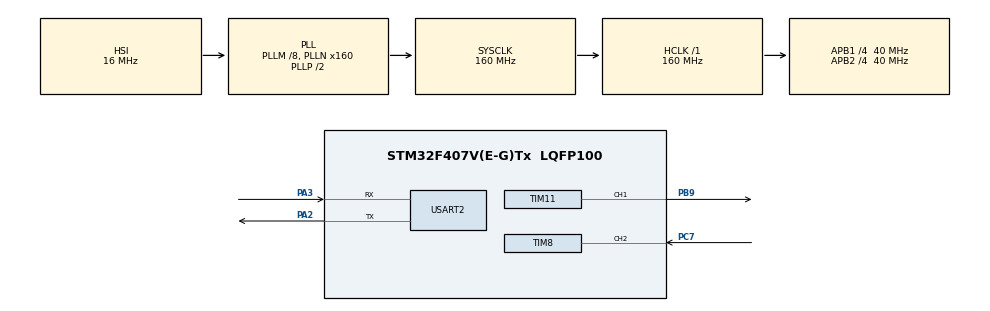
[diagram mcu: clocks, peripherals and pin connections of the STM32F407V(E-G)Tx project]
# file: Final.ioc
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Mcu.Family=STM32F4
Mcu.Name=STM32F407V(E-G)Tx
Mcu.Package=LQFP100
NVIC.PriorityGroup=NVIC_PRIORITYGROUP_4
PA13.Mode=Serial_Wire
PA13.Signal=SYS_JTMS-SWDIO
PA14.Mode=Serial_Wire
PA14.Signal=SYS_JTCK-SWCLK
PA2.Mode=Asynchronous
PA2.Signal=USART2_TX
PA3.Mode=Asynchronous
PA3.Signal=USART2_RX
PB9.Signal=S_TIM11_CH1
PC7.Signal=S_TIM8_CH2
PH0-OSC_IN.Mode=HSE-External-Oscillator
PH0-OSC_IN.Signal=RCC_OSC_IN
PH1-OSC_OUT.Mode=HSE-External-Oscillator
PH1-OSC_OUT.Signal=RCC_OSC_OUT
ProjectManager.HeapSize=0x200
ProjectManager.StackSize=0x400
ProjectManager.TargetToolchain=MDK-ARM V5
RCC.48MHZClocksFreq_Value=80000000
RCC.AHBFreq_Value=160000000
RCC.APB1CLKDivider=RCC_HCLK_DIV4
RCC.APB1Freq_Value=40000000
RCC.APB1TimFreq_Value=80000000
RCC.APB2CLKDivider=RCC_HCLK_DIV4
RCC.APB2Freq_Value=40000000
RCC.APB2TimFreq_Value=80000000
RCC.CortexFreq_Value=160000000
RCC.HCLKFreq_Value=160000000
RCC.HSE_VALUE=25000000
RCC.HSI_VALUE=16000000
RCC.LSE_VALUE=32768
RCC.PLLM=8
RCC.PLLN=160
RCC.SYSCLKFreq_VALUE=160000000
RCC.SYSCLKSource=RCC_SYSCLKSOURCE_PLLCLK
RCC.VCOOutputFreq_Value=320000000
SH.S_TIM11_CH1.0=TIM11_CH1,PWM Generation1 CH1
SH.S_TIM8_CH2.0=TIM8_CH2,TriggerSource_TI2FP2
SH.S_TIM8_CH2.1=TIM8_CH2,Input_Capture2_from_TI2
TIM11.Channel=TIM_CHANNEL_1
TIM11.Period=39999
TIM11.Prescaler=199
TIM8.Channel-Input_Capture2_from_TI2=TIM_CHANNEL_2
TIM8.ICPolarity_CH2=TIM_INPUTCHANNELPOLARITY_BOTHEDGE
TIM8.Period=65535
TIM8.Prescaler=79
USART2.VirtualMode=VM_ASYNC
VP_TIM11_VS_ClockSourceINT.Mode=Enable_Timer
VP_TIM8_VS_ControllerModeReset.Mode=Reset Mode
board=custom

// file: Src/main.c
/**
  ******************************************************************************
  * @file           : main.c
  * @brief          : Main program body
  ******************************************************************************
  ** This notice applies to any and all portions of this file
  * that are not between comment pairs USER CODE BEGIN and
  * USER CODE END. Other portions of this file, whether
  * inserted by the user or by software development tools
  * are owned by their respective copyright owners.
  *
  * COPYRIGHT(c) 2019 STMicroelectronics
  *
  * Redistribution and use in source and binary forms, with or without modification,
  * are permitted provided that the following conditions are met:
  *   1. Redistributions of source code must retain the above copyright notice,
  *      this list of conditions and the following disclaimer.
  *   2. Redistributions in binary form must reproduce the above copyright notice,
  *      this list of conditions and the following disclaimer in the documentation
  *      and/or other materials provided with the distribution.
  *   3. Neither the name of STMicroelectronics nor the names of its contributors
  *      may be used to endorse or promote products derived from this software
  *      without specific prior written permission.
  *
  * THIS SOFTWARE IS PROVIDED BY THE COPYRIGHT HOLDERS AND CONTRIBUTORS "AS IS"
  * AND ANY EXPRESS OR IMPLIED WARRANTIES, INCLUDING, BUT NOT LIMITED TO, THE
  * IMPLIED WARRANTIES OF MERCHANTABILITY AND FITNESS FOR A PARTICULAR PURPOSE ARE
  * DISCLAIMED. IN NO EVENT SHALL THE COPYRIGHT HOLDER OR CONTRIBUTORS BE LIABLE
  * FOR ANY DIRECT, INDIRECT, INCIDENTAL, SPECIAL, EXEMPLARY, OR CONSEQUENTIAL
  * DAMAGES (INCLUDING, BUT NOT LIMITED TO, PROCUREMENT OF SUBSTITUTE GOODS OR
  * SERVICES; LOSS OF USE, DATA, OR PROFITS; OR BUSINESS INTERRUPTION) HOWEVER
  * CAUSED AND ON ANY THEORY OF LIABILITY, WHETHER IN CONTRACT, STRICT LIABILITY,
  * OR TORT (INCLUDING NEGLIGENCE OR OTHERWISE) ARISING IN ANY WAY OUT OF THE USE
  * OF THIS SOFTWARE, EVEN IF ADVISED OF THE POSSIBILITY OF SUCH DAMAGE.
  *
  ******************************************************************************
  */
#include "main.h"
#include "stm32f4xx_hal.h"
#include "tim.h"
#include "usart.h"
#include "gpio.h"

/* USER CODE BEGIN Includes */
#include "stdio.h"
/* USER CODE END Includes */

/* USER CODE BEGIN PV */
/* Private variables ---------------------------------------------------------*/
#ifdef __GNU__
#define PUTCHAR_PROTOTYPE int __io_putchar(int ch)
#else
#define PUTCHAR_PROTOTYPE int fputc(int ch, FILE *f)
#endif

PUTCHAR_PROTOTYPE {
	HAL_UART_Transmit(&huart2, (uint8_t *)&ch, 1, 10);
	return ch;
}

uint32_t echo, delay;
float distance;
/* USER CODE END PV */

void SystemClock_Config(void);

/* USER CODE BEGIN PFP */
/* Private function prototypes -----------------------------------------------*/

/* USER CODE END PFP */

int main(void)
{

  /* MCU Configuration----------------------------------------------------------*/

  /* Reset of all peripherals, Initializes the Flash interface and the Systick. */
  HAL_Init();

  /* Configure the system clock */
  SystemClock_Config();

  /* Initialize all configured peripherals */
  MX_GPIO_Init();
  MX_USART2_UART_Init();
  MX_TIM11_Init();
  MX_TIM8_Init();
  /* USER CODE BEGIN 2 */

	HAL_TIM_Base_Start(&htim11);
	HAL_TIM_PWM_Start(&htim11, TIM_CHANNEL_1);
	HAL_TIM_IC_Start(&htim8, TIM_CHANNEL_2);
	TIM11->CCR1 = 3;
  /* USER CODE END 2 */

  /* Infinite loop */
  /* USER CODE BEGIN WHILE */
  while (1)
  {
		if(HAL_GetTick() - delay >= 50)
		{
			delay = HAL_GetTick();
			echo = HAL_TIM_ReadCapturedValue(&htim8, TIM_CHANNEL_2);
			distance = echo / 58.0f;
			printf("Echo: %u usec  | Distance: %.2f cm \r\n", echo, distance);
		}
  /* USER CODE END WHILE */

  }

}

void SystemClock_Config(void)
{

  RCC_OscInitTypeDef RCC_OscInitStruct;
  RCC_ClkInitTypeDef RCC_ClkInitStruct;

    /**Configure the main internal regulator output voltage
    */
  __HAL_RCC_PWR_CLK_ENABLE();

  __HAL_PWR_VOLTAGESCALING_CONFIG(PWR_REGULATOR_VOLTAGE_SCALE1);

    /**Initializes the CPU, AHB and APB busses clocks
    */
  RCC_OscInitStruct.OscillatorType = RCC_OSCILLATORTYPE_HSI;
  RCC_OscInitStruct.HSIState = RCC_HSI_ON;
  RCC_OscInitStruct.HSICalibrationValue = 16;
  RCC_OscInitStruct.PLL.PLLState = RCC_PLL_ON;
  RCC_OscInitStruct.PLL.PLLSource = RCC_PLLSOURCE_HSI;
  RCC_OscInitStruct.PLL.PLLM = 8;
  RCC_OscInitStruct.PLL.PLLN = 160;
  RCC_OscInitStruct.PLL.PLLP = RCC_PLLP_DIV2;
  RCC_OscInitStruct.PLL.PLLQ = 4;
  if (HAL_RCC_OscConfig(&RCC_OscInitStruct) != HAL_OK)
  {
    _Error_Handler(__FILE__, __LINE__);
  }

    /**Initializes the CPU, AHB and APB busses clocks
    */
  RCC_ClkInitStruct.ClockType = RCC_CLOCKTYPE_HCLK|RCC_CLOCKTYPE_SYSCLK
                              |RCC_CLOCKTYPE_PCLK1|RCC_CLOCKTYPE_PCLK2;
  RCC_ClkInitStruct.SYSCLKSource = RCC_SYSCLKSOURCE_PLLCLK;
  RCC_ClkInitStruct.AHBCLKDivider = RCC_SYSCLK_DIV1;
  RCC_ClkInitStruct.APB1CLKDivider = RCC_HCLK_DIV4;
  RCC_ClkInitStruct.APB2CLKDivider = RCC_HCLK_DIV4;

  if (HAL_RCC_ClockConfig(&RCC_ClkInitStruct, FLASH_LATENCY_5) != HAL_OK)
  {
    _Error_Handler(__FILE__, __LINE__);
  }

    /**Configure the Systick interrupt time
    */
  HAL_SYSTICK_Config(HAL_RCC_GetHCLKFreq()/1000);

    /**Configure the Systick
    */
  HAL_SYSTICK_CLKSourceConfig(SYSTICK_CLKSOURCE_HCLK);

  /* SysTick_IRQn interrupt configuration */
  HAL_NVIC_SetPriority(SysTick_IRQn, 0, 0);
}

void _Error_Handler(char *file, int line)
{
  while(1)
  {
  }
}

/************************ (C) COPYRIGHT STMicroelectronics *****END OF FILE****/
